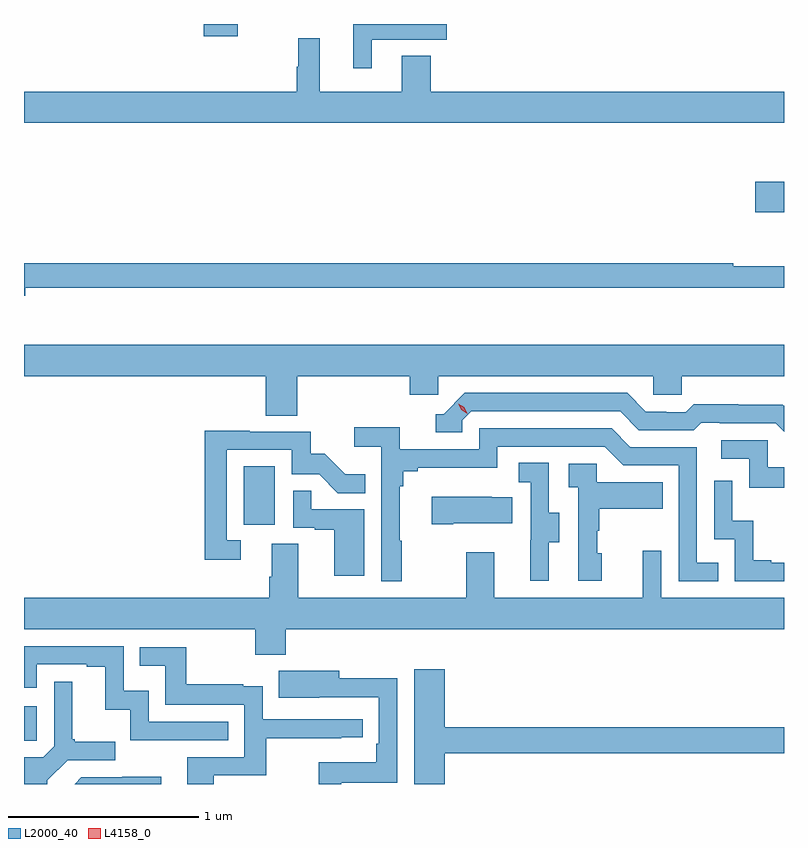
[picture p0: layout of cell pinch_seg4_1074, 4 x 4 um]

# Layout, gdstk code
import gdstk
lib = gdstk.Library(unit=1e-6, precision=1e-09)
def R(c, l, rs):  # rectangles x0, y0, x1, y1
    for r in rs: c.add(gdstk.rectangle(r[:2], r[2:], *l))
def P(c, l, *ps):  # polygons
    for p in ps: c.add(gdstk.Polygon(p, *l))
L2000_40 = (2000, 40)
L4158_0 = (4158, 0)

pinch_seg4_1074 = lib.new_cell('pinch_seg4_1074')
R(pinch_seg4_1074, L2000_40, [(864.352,760.269,864.42,760.449), (865.508,761.406,865.672,761.713), (868.2,763.049,868.352,763.212), (865.298,763.977,865.476,764.041)])
P(pinch_seg4_1074, L2000_40, [(866.182,763.959),(866.578,763.959),(866.578,764.041),(866.084,764.041),(866.084,763.809),(866.182,763.809)],
  [(868.352,763.684),(866.492,763.684),(866.492,763.874),(866.339,763.874),(866.339,763.684),(865.909,763.684),(865.909,763.966),(865.795,763.966),(865.795,763.817),(865.788,763.817),(865.788,763.684),(864.352,763.684),(864.352,763.52),(868.352,763.52)],
  [(864.358,762.654),(868.352,762.654),(868.352,762.767),(868.085,762.767),(868.085,762.782),(864.352,762.782),(864.352,762.611),(864.358,762.611)],
  [(865.79,762.188),(866.381,762.188),(866.381,762.09),(866.532,762.09),(866.532,762.188),(867.663,762.188),(867.663,762.09),(867.813,762.09),(867.813,762.188),(868.352,762.188),(868.352,762.352),(864.352,762.352),(864.352,762.188),(865.625,762.188),(865.625,761.98),(865.79,761.98)],
  [(866.658,761.955),(866.706,762.003),(867.489,762.003),(867.588,761.904),(867.877,761.904),(867.916,761.943),(868.015,761.943),(868.015,761.94),(868.308,761.94),(868.352,761.896),(868.352,762.031),(868.346,762.037),(868.11,762.037),(868.11,762.04),(867.877,762.04),(867.835,761.997),(867.732,761.997),(867.732,762),(867.625,762),(867.526,762.099),(866.673,762.099),(866.562,761.988),(866.519,761.988),(866.519,761.892),(866.658,761.892)],
  [(866.341,761.321),(866.329,761.321),(866.329,761.609),(866.348,761.609),(866.348,761.686),(866.425,761.686),(866.425,761.705),(866.844,761.705),(866.844,761.817),(867.408,761.817),(867.507,761.718),(867.798,761.718),(867.798,761.109),(868.007,761.109),(868.007,761.205),(867.894,761.205),(867.894,761.814),(867.544,761.814),(867.445,761.913),(866.748,761.913),(866.748,761.802),(866.33,761.802),(866.33,761.918),(866.091,761.918),(866.091,761.816),(866.232,761.816),(866.232,761.109),(866.341,761.109)],
  [(865.492,761.325),(865.419,761.325),(865.419,761.799),(865.761,761.799),(865.761,761.67),(865.905,761.67),(866.003,761.572),(866.147,761.572),(866.147,761.671),(866.043,761.671),(865.936,761.778),(865.86,761.778),(865.86,761.895),(865.541,761.895),(865.541,761.9),(865.303,761.9),(865.303,761.22),(865.492,761.22)],
  [(868.352,761.709),(868.266,761.709),(868.266,761.85),(868.023,761.85),(868.023,761.754),(868.17,761.754),(868.17,761.601),(868.352,761.601)],
  [(867.115,761.314),(867.169,761.314),(867.169,761.469),(867.114,761.469),(867.114,761.732),(866.955,761.732),(866.955,761.629),(867.018,761.629),(867.018,761.325),(867.017,761.325),(867.017,761.112),(867.115,761.112)],
  [(867.394,761.256),(867.369,761.256),(867.369,761.375),(867.379,761.375),(867.379,761.489),(867.713,761.489),(867.713,761.629),(867.366,761.629),(867.366,761.727),(867.219,761.727),(867.219,761.603),(867.27,761.603),(867.27,761.112),(867.394,761.112)],
  [(868.352,761.205),(868.285,761.205),(868.285,761.218),(868.19,761.218),(868.19,761.426),(868.08,761.426),(868.08,761.638),(867.984,761.638),(867.984,761.328),(868.092,761.328),(868.092,761.109),(868.352,761.109)],
  [(866.143,761.487),(865.865,761.487),(865.865,761.585),(865.77,761.585),(865.77,761.391),(865.881,761.391),(865.881,761.379),(865.985,761.379),(865.985,761.136),(866.143,761.136)],
  [(866.611,761.414),(866.921,761.414),(866.921,761.551),(866.813,761.551),(866.813,761.554),(866.499,761.554),(866.499,761.407),(866.611,761.407)],
  [(865.73,760.856),(868.352,760.856),(868.352,761.02),(867.705,761.02),(867.705,761.269),(867.608,761.269),(867.608,761.02),(866.827,761.02),(866.827,761.26),(866.68,761.26),(866.68,761.02),(865.795,761.02),(865.795,761.306),(865.655,761.306),(865.655,761.132),(865.643,761.132),(865.643,761.02),(864.352,761.02),(864.352,760.856),(865.57,760.856),(865.57,760.721),(865.73,760.721)],
  [(865.427,760.368),(865.008,760.368),(865.008,760.531),(864.876,760.531),(864.876,760.767),(864.352,760.767),(864.352,760.548),(864.42,760.548),(864.42,760.671),(864.683,760.671),(864.683,760.659),(864.779,760.659),(864.779,760.433),(864.912,760.433),(864.912,760.272),(865.427,760.272)],
  [(865.351,760.086),(865.628,760.086),(865.628,760.282),(866.021,760.282),(866.021,760.287),(866.134,760.287),(866.134,760.383),(865.608,760.383),(865.608,760.555),(865.505,760.555),(865.505,760.567),(865.207,760.567),(865.207,760.761),(864.961,760.761),(864.961,760.664),(865.096,760.664),(865.096,760.458),(865.512,760.458),(865.512,760.182),(865.211,760.182),(865.211,760.041),(865.351,760.041)],
  [(866.566,760.204),(868.352,760.204),(868.352,760.34),(866.566,760.34),(866.566,760.645),(866.405,760.645),(866.405,760.041),(866.566,760.041)],
  [(866.023,760.047),(866.316,760.047),(866.316,760.598),(866.011,760.598),(866.011,760.636),(865.693,760.636),(865.693,760.496),(865.907,760.496),(865.907,760.497),(866.22,760.497),(866.22,760.252),(866.207,760.252),(866.207,760.156),(865.902,760.156),(865.902,760.041),(866.023,760.041)],
  [(864.475,760.06),(864.582,760.167),(864.832,760.167),(864.832,760.264),(864.619,760.264),(864.619,760.276),(864.607,760.276),(864.607,760.579),(864.51,760.579),(864.51,760.239),(864.453,760.182),(864.352,760.182),(864.352,760.041),(864.475,760.041)],
  [(865.075,760.079),(864.87,760.079),(864.87,760.077),(864.654,760.077),(864.618,760.041),(865.075,760.041)])
P(pinch_seg4_1074, L4158_0, [(866.684,761.991),(866.653,762.01),(866.637,762.043),(866.637,762.043),(866.637,762.043),(866.668,762.024),(866.684,761.991),(866.684,761.991)])

lib.write_gds('pinch_seg4_1074.gds')
